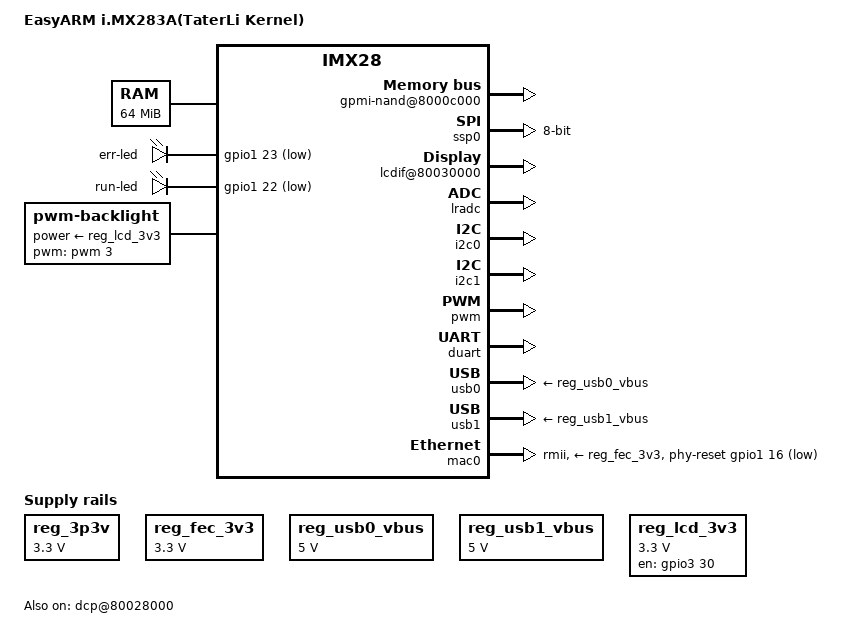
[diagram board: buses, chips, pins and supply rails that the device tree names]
/*
 * Copyright 2012 Freescale Semiconductor, Inc.
 *
 * The code contained herein is licensed under the GNU General Public
 * License. You may obtain a copy of the GNU General Public License
 * Version 2 or later at the following locations:
 *
 * http://www.opensource.org/licenses/gpl-license.html
 * http://www.gnu.org/copyleft/gpl.html
 */

/dts-v1/;
#include "imx28.dtsi"

#include <dt-bindings/thermal/thermal.h>

/ {
	model = "EasyARM i.MX283A(TaterLi Kernel)";
	compatible = "fsl,imx28-evk", "fsl,imx28";

	memory {
		reg = <0x40000000 0x04000000>;
	};

	chosen {
		bootargs ="console=ttyAMA0,115200";
	};

	apb@80000000 {
		apbh@80000000 {
		
			gpmi-nand@8000c000 {
				pinctrl-names = "default";
				pinctrl-0 = <&gpmi_pins_a &gpmi_status_cfg
					     &gpmi_pins_evk>;
				status = "okay";
			};

			ssp0: ssp@80010000 {
				compatible = "fsl,imx28-mmc";
				pinctrl-names = "default";
				pinctrl-0 = <&mmc0_8bit_pins_a
					&mmc0_cd_cfg &mmc0_sck_cfg>;
				bus-width = <8>;
				status = "okay";
			};



			pinctrl@80018000 {
				pinctrl-names = "default";

				led_pin_gpio1_23: led_gpio1_23@0 {
					reg = <0>;
					fsl,pinmux-ids = <
						MX28_PAD_LCD_D23__GPIO_1_23
						MX28_PAD_LCD_D22__GPIO_1_22
					>;
					fsl,drive-strength = <0>;
					fsl,voltage = <1>;
					fsl,pull-up = <0>;
				};

				gpmi_pins_evk: gpmi-nand-evk@0 {
					reg = <0>;
					fsl,pinmux-ids = <
						MX28_PAD_GPMI_CE1N__GPMI_CE1N
						MX28_PAD_GPMI_RDY1__GPMI_READY1
					>;
					fsl,drive-strength = <MXS_DRIVE_4mA>;
					fsl,voltage = <MXS_VOLTAGE_HIGH>;
					fsl,pull-up = <MXS_PULL_DISABLE>;
				};

				lcdif_pins_evk: lcdif-evk@0 {
					reg = <0>;
					fsl,pinmux-ids = <
						MX28_PAD_LCD_RD_E__LCD_VSYNC
						MX28_PAD_LCD_WR_RWN__LCD_HSYNC
						MX28_PAD_LCD_RS__LCD_DOTCLK
						MX28_PAD_LCD_CS__LCD_ENABLE
					>;
					fsl,drive-strength = <MXS_DRIVE_4mA>;
					fsl,voltage = <MXS_VOLTAGE_HIGH>;
					fsl,pull-up = <MXS_PULL_DISABLE>;
				};
			};
			
			digctl@8001c000 {
				status = "okay";
			};

			dcp@80028000 {
				compatible = "fsl,imx28-dcp";
				status = "okay";
			};

			pxp@8002a000 {
				status = "okay";
			};

			lcdif@80030000 {
				pinctrl-names = "default";
				pinctrl-0 = <&lcdif_16bit_pins_a
					     &lcdif_pins_evk>;
				lcd-supply = <&reg_lcd_3v3>;
				display = <&display0>;
				status = "okay";

				display0: display0 {
					bits-per-pixel = <32>;
					bus-width = <16>;

					display-timings {
						native-mode = <&timing0>;
						timing0: timing0 {
							clock-frequency = <33500000>;
							hactive = <480>;
							vactive = <272>;
							hback-porch = <5>;
							hfront-porch = <5>;
							vback-porch = <5>;
							vfront-porch = <5>;
							hsync-len = <41>;
							vsync-len = <20>;
							hsync-active = <0>;
							vsync-active = <0>;
							de-active = <1>;
							pixelclk-active = <0>;
						};
					};
				};
			};

		};

		apbx@80040000 {

			lradc: lradc@80050000 {
				fsl,lradc-touchscreen-wires = <4>;
				fsl,ave-ctrl = <4>;
				fsl,ave-delay = <2>;
				fsl,settling = <10>;
				status = "okay";
			};

			i2c0: i2c@80058000 {
				pinctrl-names = "default";
				pinctrl-0 = <&i2c0_pins_a>;
				status = "okay";
			};

			i2c1: i2c@8005a000 {
				pinctrl-names = "default";
				pinctrl-0 = <&i2c1_pins_a>;
				status = "okay";
			};

			pwm: pwm@80064000 {
				pinctrl-names = "default";
				pinctrl-0 = <&pwm3_pins_a>;
				status = "okay";
			};

			duart: serial@80074000 {
				pinctrl-names = "default";
				pinctrl-0 = <&duart_pins_b>;
				status = "okay";
			};


			usbphy0: usbphy@8007c000 {
				status = "okay";
			};

			usbphy1: usbphy@8007e000 {
				status = "okay";
			};
		};
	};

	ahb@80080000 {
		usb0: usb@80080000 {
			pinctrl-names = "default";
			pinctrl-0 = <&usb0_id_pins_b>;
			vbus-supply = <&reg_usb0_vbus>;
			status = "okay";
		};

		usb1: usb@80090000 {
			vbus-supply = <&reg_usb1_vbus>;
			status = "okay";
		};

		mac0: ethernet@800f0000 {
			phy-mode = "rmii";
			pinctrl-names = "default";
			pinctrl-0 = <&mac0_pins_a>;
			phy-supply = <&reg_fec_3v3>;
			phy-reset-gpios = <&gpio1 16 GPIO_ACTIVE_LOW>;
			phy-reset-duration = <100>;
			status = "okay";
		};

	};

	regulators {
		compatible = "simple-bus";
		#address-cells = <1>;
		#size-cells = <0>;

		reg_3p3v: regulator@0 {
			compatible = "regulator-fixed";
			reg = <0>;
			regulator-name = "3P3V";
			regulator-min-microvolt = <3300000>;
			regulator-max-microvolt = <3300000>;
			regulator-always-on;
		};

		reg_fec_3v3: regulator@1 {
			compatible = "regulator-fixed";
			reg = <1>;
			regulator-name = "fec-3v3";
			regulator-min-microvolt = <3300000>;
			regulator-max-microvolt = <3300000>;
		};

		reg_usb0_vbus: regulator@2 {
			compatible = "regulator-fixed";
			reg = <2>;
			regulator-name = "usb0_vbus";
			regulator-min-microvolt = <5000000>;
			regulator-max-microvolt = <5000000>;
		};

		reg_usb1_vbus: regulator@3 {
			compatible = "regulator-fixed";
			reg = <3>;
			regulator-name = "usb1_vbus";
			regulator-min-microvolt = <5000000>;
			regulator-max-microvolt = <5000000>;
		};

		reg_lcd_3v3: regulator@4 {
			compatible = "regulator-fixed";
			reg = <4>;
			regulator-name = "lcd-3v3";
			regulator-min-microvolt = <3300000>;
			regulator-max-microvolt = <3300000>;
			gpio = <&gpio3 30 0>;
			enable-active-high;
		};


	};


	leds {
		compatible = "gpio-leds";
		pinctrl-names = "default";
		pinctrl-0 = <&led_pin_gpio1_23>;

		red {
			label = "err-led";
			gpios = <&gpio1 23 GPIO_ACTIVE_LOW>;
			linux,default-trigger = "panic";
		};

		green {
			label = "run-led";
			gpios = <&gpio1 22 GPIO_ACTIVE_LOW>;
			linux,default-trigger = "heartbeat"; 
		};
	};

	backlight {
		compatible = "pwm-backlight";
		pwms = <&pwm 3 5000000>;
		brightness-levels = <0 4 8 16 32 64 128 255>;
		default-brightness-level = <6>;
		power-supply = <&reg_lcd_3v3>;
	};


};
